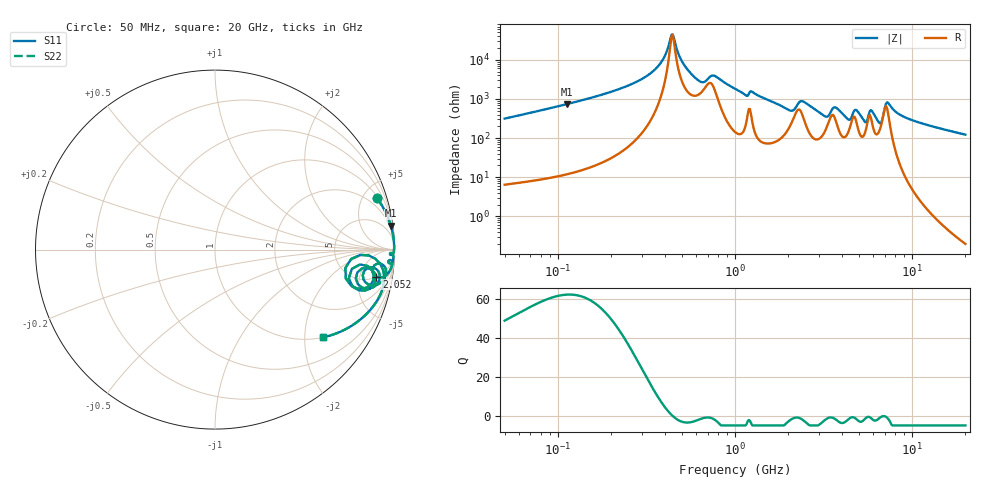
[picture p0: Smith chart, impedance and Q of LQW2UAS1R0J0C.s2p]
!Murata Part Number: LQW2UAS1R0J0C
!These Parameters are Measured in Series Mode Connection
!  o--[Z]--o
!Port1  Port2
!  o-------o
!Freq. Start=50[MHz] Stop=20[GHz], 401[Steps]
# Hz S RI R 50
!Freq.(Hz) S11(Real) S11(Imag) S21(Real) S21(Imag) S12(Real) S12(Imag) S22(Real) S22(Imag)
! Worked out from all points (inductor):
!   401 points, 50 MHz to 20 GHz, reference 50 ohm
!   read as one part in series: L = 982 nH near 51.52 MHz
!   highest Q = 62 at 112.3 MHz (marker M1), where L = 1.04 uH
!   self-resonance near 438.7 MHz
!   S11 on the Smith chart (normalised r, x): 50 MHz: 1.13, +6.27; 2.052 GHz: 5, -9; 20 GHz: 1.00, -2.44
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5e7  0.9029 0.286  0.0971 -0.286  0.0971 -0.286  0.9029 0.286
1.12266e8  0.9798 0.1328  0.0202 -0.1328  0.0202 -0.1328  0.9798 0.1328
1.364002e8  0.9867 0.1068  0.0133 -0.1068  0.0133 -0.1068  0.9867 0.1068
2.636584e8  0.9971 0.0407  0.00291 -0.0407  0.00291 -0.0407  0.9971 0.0407
3.721004e8  0.9983 0.0136  0.00174 -0.0136  0.00174 -0.0136  0.9983 0.0136
4.45371e8  0.9978 -0.000399  0.00222 0.000399  0.00222 0.000399  0.9978 -0.000399
5.020686e8  0.9965 -0.0104  0.00347 0.0104  0.00347 0.0104  0.9965 -0.0104
6.009314e8  0.9886 -0.0272  0.0114 0.0272  0.0114 0.0272  0.9886 -0.0272
7.636728e8  0.9879 -0.0221  0.0121 0.0221  0.0121 0.0221  0.9879 -0.0221
1e9  0.9928 -0.054  0.00722 0.054  0.00722 0.054  0.9928 -0.054
2.05233e9  0.8989 -0.15  0.1011 0.15  0.1011 0.15  0.8989 -0.15
2.383959e9  0.9398 -0.0886  0.0602 0.0886  0.0602 0.0886  0.9398 -0.0886
2.728004e9  0.9481 -0.15  0.0519 0.15  0.0519 0.15  0.9481 -0.15
3.680849e9  0.9088 -0.119  0.0912 0.119  0.0912 0.119  0.9088 -0.119
4.34015e9  0.8177 -0.2111  0.1823 0.2111  0.1823 0.2111  0.8177 -0.2111
4.81993e9  0.8888 -0.1296  0.1112 0.1296  0.1112 0.1296  0.8888 -0.1296
5.352748e9  0.8024 -0.2271  0.1976 0.2271  0.1976 0.2271  0.8024 -0.2271
5.856089e9  0.8756 -0.1157  0.1244 0.1157  0.1244 0.1157  0.8756 -0.1157
6.503449e9  0.7577 -0.2007  0.2423 0.2007  0.2423 0.2007  0.7577 -0.2007
7.442007e9  0.9366 -0.1149  0.0634 0.1149  0.0634 0.1149  0.9366 -0.1149
9.745021e9  0.895 -0.2968  0.105 0.2968  0.105 0.2968  0.895 -0.2968
2e10  0.599 -0.4893  0.401 0.4893  0.401 0.4893  0.599 -0.4893
